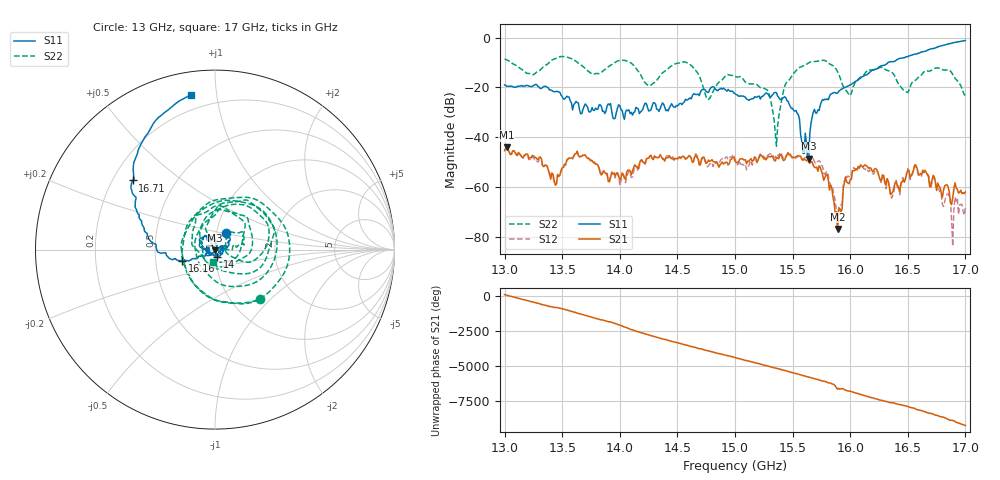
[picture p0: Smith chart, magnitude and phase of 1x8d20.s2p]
!Keysight Technologies,P9374A,MY57211807,A.19.30.04
!Date: Friday, May 08, 2026 15:18:40
!Correction: S11(C  2-Port  )
!S21(C  2-Port  )
!S12(C  2-Port  )
!S22(C  2-Port  )
!S2P File: Measurements: S11, S21, S12, S22:
# Hz S  dB  R 50
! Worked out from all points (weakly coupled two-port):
!   401 points, 13 GHz to 17 GHz, reference 50 ohm
!   highest |S21| = -43.96 dB at 13.02 GHz (marker M1); lowest = -76.6 dB at 15.89 GHz (marker M2)
!   lowest |S11| = -48.5 dB at 15.64 GHz (marker M3), VSWR 1.01, Z = 50.1 - j0.368 ohm
!   |S11| at or under -10 dB: start of sweep to 16.33 GHz
!   |S22| runs from -43.5 to -7.6 dB; largest |S21 - S12| = 0.0013
!   S11 on the Smith chart (normalised r, x): 13 GHz: 1.11, +0.21; 14 GHz: 1.02, -0.08; 16.16 GHz: 0.69, -0.09; 16.71 GHz: 0.28, +0.34; 17 GHz: 0.12, +0.85
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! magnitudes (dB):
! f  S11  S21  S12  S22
! 13 GHz  -19.0  -45.2  -45.5  -8.6
! 13.02 GHz  -19.6  -44.0  -44.1  -9.0
! 13.44 GHz  -21.7  -59.0  -58.7  -8.5
! 13.67 GHz  -30.4  -47.5  -47.2  -11.2
! 14 GHz  -27.3  -57.0  -59.1  -9.2
! 14.34 GHz  -29.6  -47.9  -47.7  -15.8
! 14.58 GHz  -24.9  -48.3  -48.5  -10.0
! 14.77 GHz  -22.0  -49.0  -51.3  -24.8
! 15 GHz  -22.5  -49.4  -48.7  -15.5
! 15.28 GHz  -22.4  -48.0  -47.3  -21.1
! 15.36 GHz  -22.1  -48.0  -46.7  -43.5
! 15.44 GHz  -24.0  -48.0  -47.5  -18.5
! 15.64 GHz  -48.5  -49.8  -48.6  -10.2
! 15.67 GHz  -31.8  -49.9  -47.6  -9.6
! 15.81 GHz  -24.9  -57.0  -55.3  -10.2
! 15.89 GHz  -22.2  -76.6  -75.4  -13.6
! 15.99 GHz  -19.2  -58.5  -55.7  -22.9
! 16.16 GHz  -14.3  -52.3  -53.6  -13.0
! 16.34 GHz  -9.8  -59.8  -59.6  -13.5
! 16.49 GHz  -7.7  -54.5  -54.1  -21.8
! 16.71 GHz  -4.4  -57.1  -57.7  -13.0
! 17 GHz  -1.2  -61.8  -68.1  -23.1
